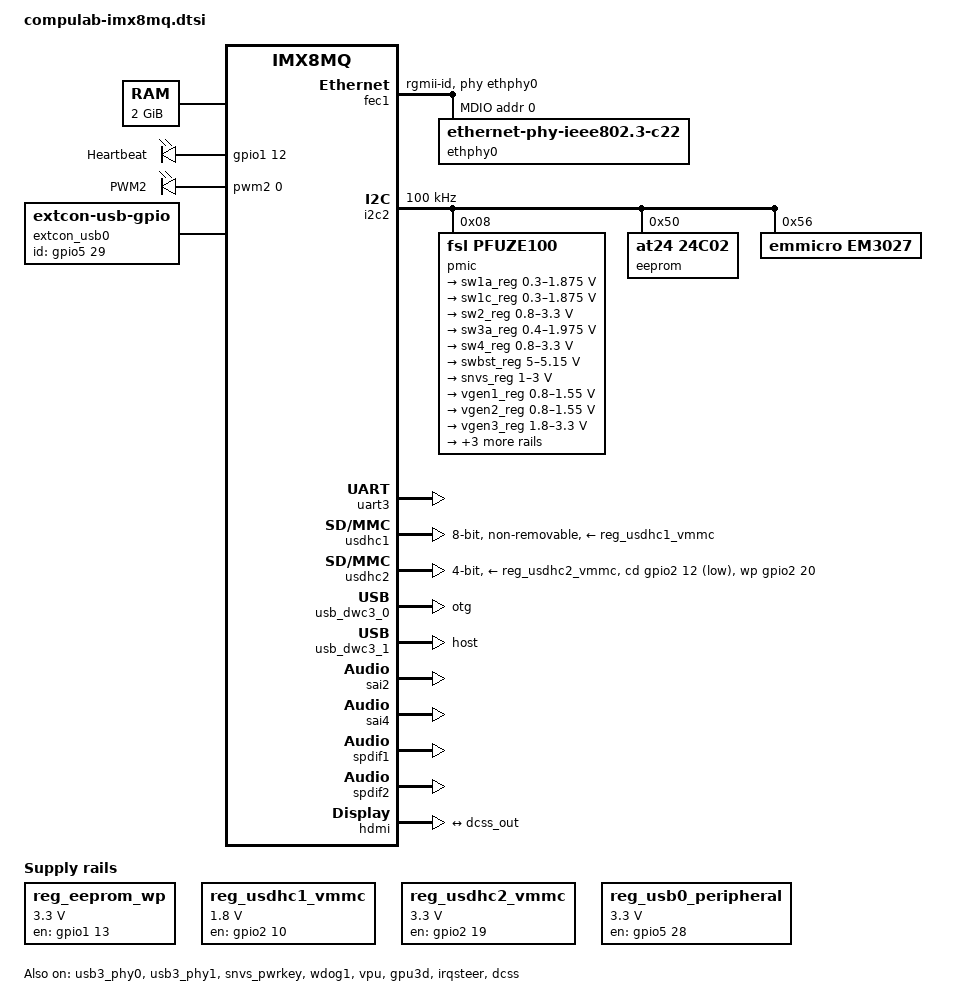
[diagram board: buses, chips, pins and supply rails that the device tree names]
/*
 * Copyright (C) 2017 CopuLab Ltd.
 *
 * This program is free software; you can redistribute it and/or
 * modify it under the terms of the GNU General Public License
 * as published by the Free Software Foundation; either version 2
 * of the License, or (at your option) any later version.
 *
 * This program is distributed in the hope that it will be useful,
 * but WITHOUT ANY WARRANTY; without even the implied warranty of
 * MERCHANTABILITY or FITNESS FOR A PARTICULAR PURPOSE.  See the
 * GNU General Public License for more details.
 */

#include "../freescale/imx8mq.dtsi"

/ {
	chosen {
		bootargs = "console=ttymxc2,115200 earlycon=ec_imx6q,0x30880000,115200";
		stdout-path = &uart3;
	};

	memory@40000000 {
		device_type = "memory";
		reg = <0x00000000 0x40000000 0 0x80000000>;
	};

	reserved-memory {
		#address-cells = <2>;
		#size-cells = <2>;
		ranges;

		rpmsg_reserved: rpmsg@0x78000000 {
			no-map;
			reg = <0 0x78000000 0 0x400000>;
		};
	};

	resmem: reserved-memory {
		#address-cells = <2>;
		#size-cells = <2>;
		ranges;

		/* global autoconfigured region for contiguous allocations */
		linux,cma {
			compatible = "shared-dma-pool";
			reusable;
			size = <0 0x18000000>;
			alloc-ranges = <0 0x40000000 0 0x40000000>;
			linux,cma-default;
		};
	};

	leds {
		compatible = "gpio-leds";
		heartbeat-led {
			label = "Heartbeat";
			gpios = <&gpio1 12 0>;
			linux,default-trigger = "heartbeat";
		};
	};

	regulators {
		compatible = "simple-bus";
		#address-cells = <1>;
		#size-cells = <0>;

		reg_eeprom_wp: eeprom_wp {
			compatible = "regulator-fixed";
			regulator-name = "eeprom_wp";
			regulator-min-microvolt = <3300000>;
			regulator-max-microvolt = <3300000>;
			gpio = <&gpio1 13 GPIO_ACTIVE_HIGH>;
			regulator-always-on;
			enable-active-high;
		};

		reg_usdhc1_vmmc: usdhc1_vmmc {
			compatible = "regulator-fixed";
			regulator-name = "USBHC1_VSD_1V8";
			regulator-min-microvolt = <1800000>;
			regulator-max-microvolt = <1800000>;
			gpio = <&gpio2 10 GPIO_ACTIVE_HIGH>;
			off-on-delay = <20000>;
			enable-active-high;
		};

		reg_usdhc2_vmmc: usdhc2_vmmc {
			compatible = "regulator-fixed";
			regulator-name = "USDHC2_VSD_3V3";
			regulator-min-microvolt = <3300000>;
			regulator-max-microvolt = <3300000>;
			gpio = <&gpio2 19 GPIO_ACTIVE_HIGH>;
			off-on-delay = <20000>;
			enable-active-high;
		};

		reg_usb0_peripheral: usb0_peripheral {
			compatible = "regulator-fixed";
			regulator-name = "usb0_peripheral";
			regulator-min-microvolt = <3300000>;
			regulator-max-microvolt = <3300000>;
			gpio = <&gpio5 28 GPIO_ACTIVE_HIGH>;
			startup-delay-us = <0>;
			enable-active-high;
		};
	};

	simple_sound: sound {
		compatible = "simple-audio-card";
		simple-audio-card,name = "compulab-imx8mq";
		simple-audio-card,widgets =
			"Headphone", "Headphone Jack",
			"Line", "Line Out",
			"Microphone", "Mic Jack",
			"Line", "Line In";
		simple-audio-card,routing =
			"Headphone Jack", "RHPOUT",
			"Headphone Jack", "LHPOUT",
			"MICIN", "Mic Bias",
			"Mic Bias", "Mic Jack";
		simple-audio-card,format = "i2s";
		simple-audio-card,bitclock-master = <&sound_master>;
		simple-audio-card,frame-master = <&sound_master>;
		simple-audio-card,bitclock-inversion;

		sound_master: simple-audio-card,cpu {
			sound-dai = <&sai2>;
			system-clock-frequency = <0>;
			system-clock-direction = "out";
		};

		sound_codec: simple-audio-card,codec {
			sound-dai = <&wm8731>;
			system-clock-direction = "in";
			system-clock-type = "mclk";
		};

	};

	sound-hdmi {
		compatible = "fsl,imx8mq-evk-cdnhdmi",
				"fsl,imx-audio-cdnhdmi";
		model = "imx-audio-hdmi";
		audio-cpu = <&sai4>;
		protocol = <1>;
		hdmi-out;
		constraint-rate = <44100>,
				<88200>,
				<176400>,
				<32000>,
				<48000>,
				<96000>,
				<192000>;
	};

	sound-spdif {
		compatible = "fsl,imx-audio-spdif";
		model = "imx-spdif";
		spdif-controller = <&spdif1>;
		spdif-out;
		spdif-in;
	};

	sound-hdmi-arc {
		compatible = "fsl,imx-audio-spdif";
		model = "imx-hdmi-arc";
		spdif-controller = <&spdif2>;
		spdif-in;
	};

	pwmleds {
		compatible = "pwm-leds";

		ledpwm2 {
			label = "PWM2";
			pwms = <&pwm2 0 50000>;
			max-brightness = <255>;
		};
	};

	usb0_peripheral_en: usb0_peripheral_en@0 {
		compatible = "userspace-consumer-wrapper";
		comment = "USB0 mode swich host/peripheral enable/disable";

		regulator-name = "usb0_peripheral";
		us-folder-num = <0>;
	};

	extcon_usb0: extcon_usb0 {
		compatible = "linux,extcon-usb-gpio";
		id-gpio = <&gpio5 29 GPIO_ACTIVE_HIGH>;
	};
};

&iomuxc {
	pinctrl-names = "default";
	pinctrl-0 = <&pinctrl_hog>;

	compulab-imx8mq {
		pinctrl_hog: hoggrp {
			fsl,pins = <
				MX8MQ_IOMUXC_GPIO1_IO12_GPIO1_IO12	0x16
				MX8MQ_IOMUXC_GPIO1_IO13_GPIO1_IO13	0x16
				MX8MQ_IOMUXC_UART4_TXD_GPIO5_IO29 	0x16
				MX8MQ_IOMUXC_UART4_RXD_GPIO5_IO28 	0x16
			>;
		};

		pinctrl_fec1: fec1grp {
			fsl,pins = <
				MX8MQ_IOMUXC_ENET_MDC_ENET1_MDC		0x3
				MX8MQ_IOMUXC_ENET_MDIO_ENET1_MDIO	0x23
				MX8MQ_IOMUXC_ENET_TD3_ENET1_RGMII_TD3	0x1f
				MX8MQ_IOMUXC_ENET_TD2_ENET1_RGMII_TD2	0x1f
				MX8MQ_IOMUXC_ENET_TD1_ENET1_RGMII_TD1	0x1f
				MX8MQ_IOMUXC_ENET_TD0_ENET1_RGMII_TD0	0x1f
				MX8MQ_IOMUXC_ENET_RD3_ENET1_RGMII_RD3	0x91
				MX8MQ_IOMUXC_ENET_RD2_ENET1_RGMII_RD2	0x91
				MX8MQ_IOMUXC_ENET_RD1_ENET1_RGMII_RD1	0x91
				MX8MQ_IOMUXC_ENET_RD0_ENET1_RGMII_RD0	0x91
				MX8MQ_IOMUXC_ENET_TXC_ENET1_RGMII_TXC	0x1f
				MX8MQ_IOMUXC_ENET_RXC_ENET1_RGMII_RXC	0x91
				MX8MQ_IOMUXC_ENET_RX_CTL_ENET1_RGMII_RX_CTL	0x91
				MX8MQ_IOMUXC_ENET_TX_CTL_ENET1_RGMII_TX_CTL	0x1f
				MX8MQ_IOMUXC_GPIO1_IO09_GPIO1_IO9	0x19
			>;
		};

		pinctrl_i2c1: i2c1grp {
			fsl,pins = <
				MX8MQ_IOMUXC_I2C1_SCL_I2C1_SCL	0x4000007f
				MX8MQ_IOMUXC_I2C1_SDA_I2C1_SDA	0x4000007f
			>;
		};

		pinctrl_i2c2: i2c2grp {
			fsl,pins = <
				MX8MQ_IOMUXC_I2C2_SCL_I2C2_SCL	0x4000007f
				MX8MQ_IOMUXC_I2C2_SDA_I2C2_SDA	0x4000007f
			>;
		};

		pinctrl_i2c3: i2c3grp {
			fsl,pins = <
				MX8MQ_IOMUXC_I2C3_SCL_I2C3_SCL	0x4000007f
				MX8MQ_IOMUXC_I2C3_SDA_I2C3_SDA	0x4000007f
			>;
		};

		pinctrl_i2c4: i2c4grp {
			fsl,pins = <
				MX8MQ_IOMUXC_I2C4_SCL_I2C4_SCL	0x4000007f
				MX8MQ_IOMUXC_I2C4_SDA_I2C4_SDA	0x4000007f
			>;
		};

		pinctrl_ecspi1: ecspi1grp {
			fsl,pins = <
				MX8MQ_IOMUXC_ECSPI1_SCLK_ECSPI1_SCLK 	0x82
				MX8MQ_IOMUXC_ECSPI1_MOSI_ECSPI1_MOSI	0x82
				MX8MQ_IOMUXC_ECSPI1_MISO_ECSPI1_MISO	0x82
				MX8MQ_IOMUXC_ECSPI1_SS0_GPIO5_IO9	0x82
			>;
		};

		pinctrl_ecspi3: ecspi3grp {
			fsl,pins = <
				MX8MQ_IOMUXC_UART1_RXD_ECSPI3_SCLK	0x82
				MX8MQ_IOMUXC_UART1_TXD_ECSPI3_MOSI	0x82
				MX8MQ_IOMUXC_UART2_RXD_ECSPI3_MISO 	0x82
				MX8MQ_IOMUXC_UART2_TXD_GPIO5_IO25	0x82
			>;
		};

		pinctrl_uart3: uart3grp {
			fsl,pins = <
				MX8MQ_IOMUXC_UART3_TXD_UART3_DCE_TX		0x79
				MX8MQ_IOMUXC_UART3_RXD_UART3_DCE_RX		0x79
				MX8MQ_IOMUXC_ECSPI1_MISO_UART3_DCE_CTS_B	0x79
				MX8MQ_IOMUXC_ECSPI1_SS0_UART3_DCE_RTS_B		0x79
				MX8MQ_IOMUXC_NAND_CLE_GPIO3_IO5			0x19
			>;
		};

		pinctrl_usdhc1_gpio: usdhc1grpgpio {
			fsl,pins = <
				MX8MQ_IOMUXC_SD1_RESET_B_GPIO2_IO10	0x1c
			>;
		};

		pinctrl_usdhc1: usdhc1grp {
			fsl,pins = <
				MX8MQ_IOMUXC_SD1_CLK_USDHC1_CLK			0x83
				MX8MQ_IOMUXC_SD1_CMD_USDHC1_CMD			0xc3
				MX8MQ_IOMUXC_SD1_DATA0_USDHC1_DATA0		0xc3
				MX8MQ_IOMUXC_SD1_DATA1_USDHC1_DATA1		0xc3
				MX8MQ_IOMUXC_SD1_DATA2_USDHC1_DATA2		0xc3
				MX8MQ_IOMUXC_SD1_DATA3_USDHC1_DATA3		0xc3
				MX8MQ_IOMUXC_SD1_DATA4_USDHC1_DATA4		0xc3
				MX8MQ_IOMUXC_SD1_DATA5_USDHC1_DATA5		0xc3
				MX8MQ_IOMUXC_SD1_DATA6_USDHC1_DATA6		0xc3
				MX8MQ_IOMUXC_SD1_DATA7_USDHC1_DATA7		0xc3
				MX8MQ_IOMUXC_SD1_STROBE_USDHC1_STROBE 		0x83
			>;
		};

		pinctrl_usdhc1_100mhz: usdhc1grp100mhz {
			fsl,pins = <
				MX8MQ_IOMUXC_SD1_CLK_USDHC1_CLK			0x8d
				MX8MQ_IOMUXC_SD1_CMD_USDHC1_CMD			0xcd
				MX8MQ_IOMUXC_SD1_DATA0_USDHC1_DATA0		0xcd
				MX8MQ_IOMUXC_SD1_DATA1_USDHC1_DATA1		0xcd
				MX8MQ_IOMUXC_SD1_DATA2_USDHC1_DATA2		0xcd
				MX8MQ_IOMUXC_SD1_DATA3_USDHC1_DATA3		0xcd
				MX8MQ_IOMUXC_SD1_DATA4_USDHC1_DATA4		0xcd
				MX8MQ_IOMUXC_SD1_DATA5_USDHC1_DATA5		0xcd
				MX8MQ_IOMUXC_SD1_DATA6_USDHC1_DATA6		0xcd
				MX8MQ_IOMUXC_SD1_DATA7_USDHC1_DATA7		0xcd
				MX8MQ_IOMUXC_SD1_STROBE_USDHC1_STROBE		0x8d
			>;
		};

		pinctrl_usdhc1_200mhz: usdhc1grp200mhz {
			fsl,pins = <
				MX8MQ_IOMUXC_SD1_CLK_USDHC1_CLK			0x9f
				MX8MQ_IOMUXC_SD1_CMD_USDHC1_CMD			0xdf
				MX8MQ_IOMUXC_SD1_DATA0_USDHC1_DATA0		0xdf
				MX8MQ_IOMUXC_SD1_DATA1_USDHC1_DATA1		0xdf
				MX8MQ_IOMUXC_SD1_DATA2_USDHC1_DATA2		0xdf
				MX8MQ_IOMUXC_SD1_DATA3_USDHC1_DATA3		0xdf
				MX8MQ_IOMUXC_SD1_DATA4_USDHC1_DATA4		0xdf
				MX8MQ_IOMUXC_SD1_DATA5_USDHC1_DATA5		0xdf
				MX8MQ_IOMUXC_SD1_DATA6_USDHC1_DATA6		0xdf
				MX8MQ_IOMUXC_SD1_DATA7_USDHC1_DATA7		0xdf
				MX8MQ_IOMUXC_SD1_STROBE_USDHC1_STROBE		0x9f
			>;
		};

		pinctrl_usdhc2_gpio: usdhc2grpgpio {
			fsl,pins = <
				MX8MQ_IOMUXC_SD2_WP_GPIO2_IO20		0x41
				MX8MQ_IOMUXC_SD2_CD_B_GPIO2_IO12	0x41
				MX8MQ_IOMUXC_SD2_RESET_B_GPIO2_IO19	0x41
			>;
		};

		pinctrl_usdhc2: usdhc2grp {
			fsl,pins = <
				MX8MQ_IOMUXC_SD2_CLK_USDHC2_CLK			0x83
				MX8MQ_IOMUXC_SD2_CMD_USDHC2_CMD			0xc3
				MX8MQ_IOMUXC_SD2_DATA0_USDHC2_DATA0		0xc3
				MX8MQ_IOMUXC_SD2_DATA1_USDHC2_DATA1		0xc3
				MX8MQ_IOMUXC_SD2_DATA2_USDHC2_DATA2		0xc3
				MX8MQ_IOMUXC_SD2_DATA3_USDHC2_DATA3		0xc3
			>;
		};

		pinctrl_usdhc2_100mhz: usdhc2grp100mhz {
			fsl,pins = <
				MX8MQ_IOMUXC_SD2_CLK_USDHC2_CLK			0x8d
				MX8MQ_IOMUXC_SD2_CMD_USDHC2_CMD			0xcd
				MX8MQ_IOMUXC_SD2_DATA0_USDHC2_DATA0		0xcd
				MX8MQ_IOMUXC_SD2_DATA1_USDHC2_DATA1		0xcd
				MX8MQ_IOMUXC_SD2_DATA2_USDHC2_DATA2		0xcd
				MX8MQ_IOMUXC_SD2_DATA3_USDHC2_DATA3		0xcd
			>;
		};

		pinctrl_usdhc2_200mhz: usdhc2grp200mhz {
			fsl,pins = <
				MX8MQ_IOMUXC_SD2_CLK_USDHC2_CLK			0x9f
				MX8MQ_IOMUXC_SD2_CMD_USDHC2_CMD			0xdf
				MX8MQ_IOMUXC_SD2_DATA0_USDHC2_DATA0		0xdf
				MX8MQ_IOMUXC_SD2_DATA1_USDHC2_DATA1		0xdf
				MX8MQ_IOMUXC_SD2_DATA2_USDHC2_DATA2		0xdf
				MX8MQ_IOMUXC_SD2_DATA3_USDHC2_DATA3		0xdf
			>;
		};

		pinctrl_sai2: sai2grp {
			fsl,pins = <
				MX8MQ_IOMUXC_SAI2_TXFS_SAI2_TX_SYNC	0xd6
				MX8MQ_IOMUXC_SAI2_TXC_SAI2_TX_BCLK	0xd6
				MX8MQ_IOMUXC_SAI2_MCLK_SAI2_MCLK	0xd6
				MX8MQ_IOMUXC_SAI2_TXD0_SAI2_TX_DATA0	0xd6
				MX8MQ_IOMUXC_GPIO1_IO08_GPIO1_IO8	0xd6
			>;
		};

		pinctrl_spdif1: spdif1grp {
			fsl,pins = <
				MX8MQ_IOMUXC_SPDIF_TX_SPDIF1_OUT	0xd6
				MX8MQ_IOMUXC_SPDIF_RX_SPDIF1_IN		0xd6
			>;
		};

		pinctrl_wdog: wdoggrp {
			fsl,pins = <
				MX8MQ_IOMUXC_GPIO1_IO02_WDOG1_WDOG_B 0xc6
			>;
		};
	};
};

&fec1 {
	pinctrl-names = "default";
	pinctrl-0 = <&pinctrl_fec1>;
	phy-mode = "rgmii-id";
	phy-handle = <&ethphy0>;
	fsl,magic-packet;
	status = "okay";

	mdio {
		#address-cells = <1>;
		#size-cells = <0>;

		ethphy0: ethernet-phy@0 {
			compatible = "ethernet-phy-ieee802.3-c22";
			reg = <0>;
			at803x,led-act-blind-workaround;
			at803x,eee-disabled;
		};
	};
};

&i2c1 {
	clock-frequency = <100000>;
	pinctrl-names = "default";
	pinctrl-0 = <&pinctrl_i2c1>;
	status = "disabled";
};

&i2c2 {
	clock-frequency = <100000>;
	pinctrl-names = "default";
	pinctrl-0 = <&pinctrl_i2c2>;
	status = "okay";

	pmic: pfuze100@8 {
		compatible = "fsl,pfuze100";
		reg = <0x8>;

		regulators {
			sw1a_reg: sw1ab {
				regulator-min-microvolt = <300000>;
				regulator-max-microvolt = <1875000>;
				regulator-always-on;
			};

			sw1c_reg: sw1c {
				regulator-min-microvolt = <300000>;
				regulator-max-microvolt = <1875000>;
				regulator-always-on;
			};

			sw2_reg: sw2 {
				regulator-min-microvolt = <800000>;
				regulator-max-microvolt = <3300000>;
				regulator-always-on;
			};

			sw3a_reg: sw3ab {
				regulator-min-microvolt = <400000>;
				regulator-max-microvolt = <1975000>;
				regulator-always-on;
			};

			sw4_reg: sw4 {
				regulator-min-microvolt = <800000>;
				regulator-max-microvolt = <3300000>;
				regulator-always-on;
			};

			swbst_reg: swbst {
				regulator-min-microvolt = <5000000>;
				regulator-max-microvolt = <5150000>;
			};

			snvs_reg: vsnvs {
				regulator-min-microvolt = <1000000>;
				regulator-max-microvolt = <3000000>;
				regulator-always-on;
			};

			vref_reg: vrefddr {
				regulator-always-on;
			};

			vgen1_reg: vgen1 {
				regulator-min-microvolt = <800000>;
				regulator-max-microvolt = <1550000>;
			};

			vgen2_reg: vgen2 {
				regulator-min-microvolt = <800000>;
				regulator-max-microvolt = <1550000>;
				regulator-always-on;
			};

			vgen3_reg: vgen3 {
				regulator-min-microvolt = <1800000>;
				regulator-max-microvolt = <3300000>;
				regulator-always-on;
			};

			vgen4_reg: vgen4 {
				regulator-min-microvolt = <1800000>;
				regulator-max-microvolt = <3300000>;
				regulator-always-on;
			};

			vgen5_reg: vgen5 {
				regulator-min-microvolt = <1800000>;
				regulator-max-microvolt = <3300000>;
				regulator-always-on;
			};

			vgen6_reg: vgen6 {
				regulator-min-microvolt = <1800000>;
				regulator-max-microvolt = <3300000>;
			};
		};
	};

	wm8731: wm8731@1a {
		#sound-dai-cells = <0>;
		compatible = "wlf,wm8731";
		reg = <0x1a>;
		status = "disabled";
	};

	eeprom@50 {
		compatible = "at24,24c02";
		reg = <0x50>;
		pagesize = <16>;
	};

	em3027: rtc@56 {
		compatible = "emmicro,em3027";
		reg = <0x56>;
	};
};

&i2c3 {
    clock-frequency = <400000>;
    pinctrl-names = "default";
    pinctrl-0 = <&pinctrl_i2c3>;
    status = "disabled";
};

&uart3 { /* console */
	pinctrl-names = "default";
	pinctrl-0 = <&pinctrl_uart3>;
	assigned-clocks = <&clk IMX8MQ_CLK_UART3>;
	assigned-clock-parents = <&clk IMX8MQ_CLK_25M>;
	status = "okay";
};

&ecspi3 {
	pinctrl-names = "default";
	pinctrl-0 = <&pinctrl_ecspi3>;
	status = "disabled";

};

&usdhc1 {
	pinctrl-names = "default", "state_100mhz", "state_200mhz";
	pinctrl-0 = <&pinctrl_usdhc1>, <&pinctrl_usdhc1_gpio>;
	pinctrl-1 = <&pinctrl_usdhc1_100mhz>, <&pinctrl_usdhc1_gpio>;
	pinctrl-2 = <&pinctrl_usdhc1_200mhz>, <&pinctrl_usdhc1_gpio>;
	bus-width = <8>;
	non-removable;
	vmmc-supply = <&reg_usdhc1_vmmc>;
	status = "okay";
};

&usdhc2 {
	pinctrl-names = "default", "state_100mhz", "state_200mhz";
	pinctrl-0 = <&pinctrl_usdhc2>, <&pinctrl_usdhc2_gpio>;
	pinctrl-1 = <&pinctrl_usdhc2_100mhz>, <&pinctrl_usdhc2_gpio>;
	pinctrl-2 = <&pinctrl_usdhc2_200mhz>, <&pinctrl_usdhc2_gpio>;
	bus-width = <4>;
	cd-gpios = <&gpio2 12 GPIO_ACTIVE_LOW>;
	wp-gpios = <&gpio2 20 GPIO_ACTIVE_HIGH>;
	vmmc-supply = <&reg_usdhc2_vmmc>;
	no-1-8-v;
	status = "okay";
};

&usb3_phy0 {
	status = "okay";
};

&usb_dwc3_0 {
	status = "okay";
	dr_mode = "otg";
	extcon = <&extcon_usb0>;
};

&usb3_phy1 {
	status = "okay";
};

&usb_dwc3_1 {
	status = "okay";
	dr_mode = "host";
};

&sai2 {
	pinctrl-names = "default";
	pinctrl-0 = <&pinctrl_sai2>;
	assigned-clocks = <&clk IMX8MQ_CLK_SAI2>;
	assigned-clock-parents = <&clk IMX8MQ_AUDIO_PLL1_OUT>;
	assigned-clock-rates = <49152000>;
	clocks = <&clk IMX8MQ_CLK_SAI2_IPG>, <&clk IMX8MQ_CLK_DUMMY>,
		<&clk IMX8MQ_CLK_SAI2_ROOT>, <&clk IMX8MQ_CLK_DUMMY>,
		<&clk IMX8MQ_CLK_DUMMY>, <&clk IMX8MQ_AUDIO_PLL1_OUT>,
		<&clk IMX8MQ_AUDIO_PLL2_OUT>;
	clock-names = "bus", "mclk0", "mclk1", "mclk2", "mclk3", "pll8k", "pll11k";
	fsl,sai-asynchronous;
	status = "okay";
};

&sai4 {
	assigned-clocks = <&clk IMX8MQ_CLK_SAI4>;
	assigned-clock-parents = <&clk IMX8MQ_AUDIO_PLL1_OUT>;
	assigned-clock-rates = <24576000>;
	clocks = <&clk IMX8MQ_CLK_SAI4_IPG>, <&clk IMX8MQ_CLK_DUMMY>,
		<&clk IMX8MQ_CLK_SAI4_ROOT>, <&clk IMX8MQ_CLK_DUMMY>,
		<&clk IMX8MQ_CLK_DUMMY>, <&clk IMX8MQ_AUDIO_PLL1_OUT>,
		<&clk IMX8MQ_AUDIO_PLL2_OUT>;
	clock-names = "bus", "mclk0", "mclk1", "mclk2", "mclk3", "pll8k", "pll11k";
	status = "okay";
};

&spdif1 {
	pinctrl-names = "default";
	pinctrl-0 = <&pinctrl_spdif1>;
	assigned-clocks = <&clk IMX8MQ_CLK_SPDIF1>;
	assigned-clock-parents = <&clk IMX8MQ_AUDIO_PLL1_OUT>;
	assigned-clock-rates = <24576000>;
	status = "okay";
};

&spdif2 {
	assigned-clocks = <&clk IMX8MQ_CLK_SPDIF2>;
	assigned-clock-parents = <&clk IMX8MQ_AUDIO_PLL1_OUT>;
	assigned-clock-rates = <24576000>;
	status = "okay";
};

&pgc_gpu {
	power-supply = <&sw1a_reg>;
};

&pgc_vpu {
	power-supply = <&sw1c_reg>;
};

&snvs_pwrkey {
	status = "okay";
};

&wdog1 {
	pinctrl-names = "default";
	pinctrl-0 = <&pinctrl_wdog>;
	fsl,ext-reset-output;
	status = "okay";
};

&A53_0 {
	/delete-property/ dc-supply;
};

&vpu {
	status = "okay";
};

&gpu3d {
	status = "okay";
};

&irqsteer {
	status = "okay";
};

&dcss {
	status = "okay";

	port@0 {
		dcss_out: endpoint {
			  remote-endpoint = <&hdmi_in>;
		};
	};
};

&hdmi {
	compatible = "cdn,imx8mq-hdmi";
	lane-mapping = <0xe4>;
	status = "okay";
	port@1 {
		hdmi_in: endpoint {
			remote-endpoint = <&dcss_out>;
		};
	};
};
